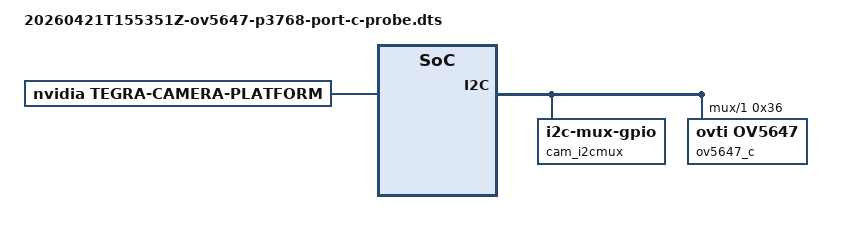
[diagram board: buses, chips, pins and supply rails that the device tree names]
/dts-v1/;

/ {
	overlay-name = "OV5647 probe route C for p3768/p3767";
	jetson-header-name = "Jetson 22pin CSI Connector";
	compatible = "nvidia,p3768-0000+p3767-0000\0nvidia,p3768-0000+p3767-0001\0nvidia,p3768-0000+p3767-0003\0nvidia,p3768-0000+p3767-0004\0nvidia,p3768-0000+p3767-0005";

	fragment@0 {
		target-path = "/";

		__overlay__ {

			tegra-capture-vi {
				num-channels = <0x01>;

				ports {
					#address-cells = <0x01>;
					#size-cells = <0x00>;

					port@1 {
						reg = <0x00>;

						endpoint {
							port-index = <0x02>;
							bus-width = <0x02>;
							remote-endpoint = <0x01>;
							phandle = <0x03>;
						};
					};
				};
			};

			tegra-camera-platform {
				compatible = "nvidia, tegra-camera-platform";

				modules {

					module1 {
						badge = "probe_ov5647_route_c";
						position = "rear";
						orientation = "1";

						drivernode0 {
							pcl_id = "v4l2_sensor";
							sysfs-device-tree = "/sys/firmware/devicetree/base/bus@0/cam_i2cmux/i2c@1/ov5647_c@36";
						};
					};
				};
			};

			bus@0 {

				host1x@13e00000 {

					nvcsi@15a00000 {
						num-channels = <0x01>;
						#address-cells = <0x01>;
						#size-cells = <0x00>;

						channel@1 {
							reg = <0x00>;

							ports {
								#address-cells = <0x01>;
								#size-cells = <0x00>;

								port@0 {
									reg = <0x00>;

									endpoint@2 {
										port-index = <0x02>;
										bus-width = <0x02>;
										remote-endpoint = <0x02>;
										phandle = <0x04>;
									};
								};

								port@1 {
									reg = <0x01>;

									endpoint@3 {
										remote-endpoint = <0x03>;
										phandle = <0x01>;
									};
								};
							};
						};
					};
				};

				cam_i2cmux {
					status = "okay";
					compatible = "i2c-mux-gpio";
					#address-cells = <0x01>;
					#size-cells = <0x00>;
					mux-gpios = <0xffffffff 0x13 0x00>;
					i2c-parent = <0xffffffff>;

					i2c@0 {
						status = "okay";
						reg = <0x00>;
						#address-cells = <0x01>;
						#size-cells = <0x00>;

						ov5647_a@36 {
							reg = <0x36>;
							status = "disabled";
						};
					};

					i2c@1 {
						status = "okay";
						reg = <0x01>;
						#address-cells = <0x01>;
						#size-cells = <0x00>;

						ov5647_c@36 {
							status = "okay";
							compatible = "ovti,ov5647";
							reg = <0x36>;
							devnode = "video0";
							physical_w = "3.674";
							physical_h = "2.738";
							sensor_model = "ov5647";
							use_sensor_mode_id = "true";
							mclk = "extperiph1";
							clocks = <0xffffffff 0x07>;
							clock-names = "extperiph1";
							avdd-reg = "vana";
							dvdd-reg = "vdig";
							iovdd-reg = "vif";
							pwdn-gpios = <0xffffffff 0xa0 0x00>;

							mode0 {
								mclk_khz = "24000";
								num_lanes = "2";
								tegra_sinterface = "serial_c";
								lane_polarity = "0";
								phy_mode = "DPHY";
								discontinuous_clk = "yes";
								dpcm_enable = "false";
								cil_settletime = "0";
								active_w = "640";
								active_h = "480";
								mode_type = "bayer";
								pixel_phase = "bggr";
								csi_pixel_bit_depth = "10";
								readout_orientation = "0";
								line_length = "1852";
								inherent_gain = "1";
								mclk_multiplier = "2.43";
								pix_clk_hz = "58333000";
								gain_factor = "16";
								framerate_factor = "1000000";
								exposure_factor = "1000000";
								min_gain_val = "16";
								max_gain_val = "1023";
								step_gain_val = "1";
								default_gain = "32";
								min_hdr_ratio = "1";
								max_hdr_ratio = "1";
								min_framerate = "5000000";
								max_framerate = "60000000";
								step_framerate = "1";
								default_framerate = "60000000";
								min_exp_time = "13";
								max_exp_time = "16000";
								step_exp_time = "1";
								default_exp_time = "1000";
								embedded_metadata_height = "0";
							};

							ports {
								#address-cells = <0x01>;
								#size-cells = <0x00>;

								port@0 {
									reg = <0x00>;

									endpoint {
										port-index = <0x02>;
										bus-width = <0x02>;
										remote-endpoint = <0x04>;
										phandle = <0x02>;
									};
								};
							};
						};
					};
				};
			};
		};
	};

	__symbols__ {
		ov5647_probe_c_vi_in0 = "/fragment@0/__overlay__/tegra-capture-vi/ports/port@1/endpoint";
		ov5647_probe_c_csi_in0 = "/fragment@0/__overlay__/bus@0/host1x@13e00000/nvcsi@15a00000/channel@1/ports/port@0/endpoint@2";
		ov5647_probe_c_csi_out0 = "/fragment@0/__overlay__/bus@0/host1x@13e00000/nvcsi@15a00000/channel@1/ports/port@1/endpoint@3";
		ov5647_probe_c_out0 = "/fragment@0/__overlay__/bus@0/cam_i2cmux/i2c@1/ov5647_c@36/ports/port@0/endpoint";
	};

	__fixups__ {
		gpio_aon = "/fragment@0/__overlay__/bus@0/cam_i2cmux:mux-gpios:0";
		cam_i2c = "/fragment@0/__overlay__/bus@0/cam_i2cmux:i2c-parent:0";
		bpmp = "/fragment@0/__overlay__/bus@0/cam_i2cmux/i2c@1/ov5647_c@36:clocks:0";
		gpio = "/fragment@0/__overlay__/bus@0/cam_i2cmux/i2c@1/ov5647_c@36:pwdn-gpios:0";
	};

	__local_fixups__ {

		fragment@0 {

			__overlay__ {

				tegra-capture-vi {

					ports {

						port@1 {

							endpoint {
								remote-endpoint = <0x00>;
							};
						};
					};
				};

				bus@0 {

					host1x@13e00000 {

						nvcsi@15a00000 {

							channel@1 {

								ports {

									port@0 {

										endpoint@2 {
											remote-endpoint = <0x00>;
										};
									};

									port@1 {

										endpoint@3 {
											remote-endpoint = <0x00>;
										};
									};
								};
							};
						};
					};

					cam_i2cmux {

						i2c@1 {

							ov5647_c@36 {

								ports {

									port@0 {

										endpoint {
											remote-endpoint = <0x00>;
										};
									};
								};
							};
						};
					};
				};
			};
		};
	};
};
